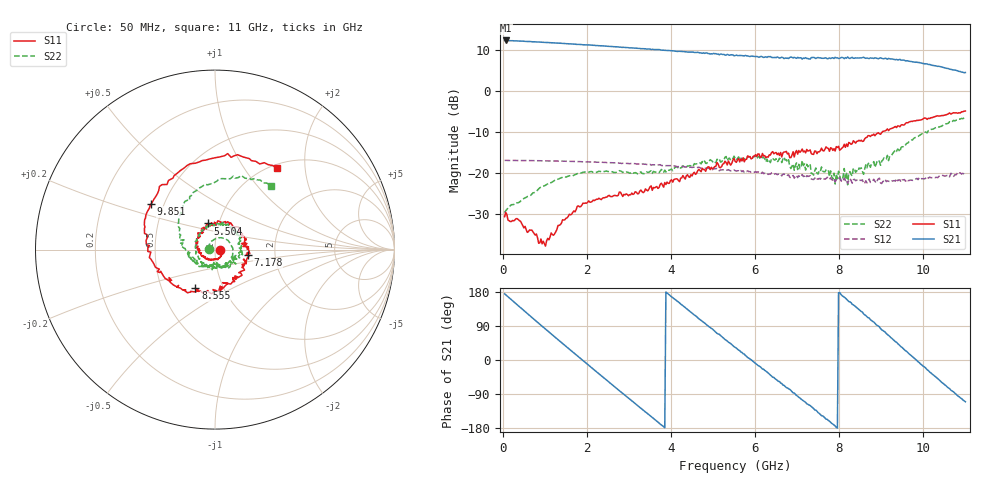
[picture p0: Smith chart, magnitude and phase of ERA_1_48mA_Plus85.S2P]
! Mini-Circuits
! S2P DATA File Format
! Type: MMIC Amplifier
! Model: ERA-1  Reference Data:RDF-960
! Note: All S Parameters are in dB deg format
! TEST CONDITIONS: INPUT POWER = -15dBm, Icc = 48mA, Vd = 3.38V @Temperature = +85degC
# MHz S DB R 50
!  FREQ  dB(S11)  PHS(S11)  dB(S21)  PHS(S21)  dB(S12)  PHS(S12)  dB(S22)  PHS(S22)
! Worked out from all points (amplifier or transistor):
!   401 points, 50 MHz to 11 GHz, reference 50 ohm
!   highest |S21| = 12.4 dB at 77 MHz (marker M1)
!   |S21| within 3 dB of that: start of sweep to 4.68 GHz
!   unconditionally stable (mu >= 1): start of sweep to end of sweep
!   at 1.832 GHz: K = 1.23, MAG = 11.4 dB, |S12| = -17.2 dB
!   at 5.45 GHz: K = 1.79, MAG = 9.0 dB, |S12| = -19.4 dB
!   at 11 GHz: K = 1.65, MAG = 7.6 dB, |S12| = -20.2 dB
!   S11 on the Smith chart (normalised r, x): 50 MHz: 1.06, -0.00; 5.504 GHz: 0.89, +0.26; 7.178 GHz: 1.44, -0.09; 8.555 GHz: 0.74, -0.34; 9.851 GHz: 0.42, +0.27; 11 GHz: 1.07, +1.43
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50  -30.71 -2.0  12.32 174.6  -16.95 -4.3  -29.72 171.1
77  -29.65 1.3  12.36 172.1  -16.94 -5.9  -29.23 166.7
536  -33.08 -26.4  12.16 127.9  -16.99 -39.3  -26.11 116.5
941  -37.34 -18.5  11.92 89.2  -17.05 -68.9  -23.31 76.6
1454  -31.54 2.2  11.61 41.2  -17.15 -106.3  -21.00 34.0
1886  -27.91 -18.6  11.33 1.1  -17.27 -138.0  -19.97 -2.5
2777  -24.69 -74.3  10.71 -80.9  -17.65 156.5  -19.45 -77.3
3182  -24.73 -103.3  10.43 -117.6  -17.83 126.9  -20.05 -114.0
3722  -23.57 -133.2  10.13 -166.4  -18.04 87.6  -19.97 -161.3
4154  -21.49 -165.6  9.66 155.3  -18.49 55.9  -18.53 157.0
4667  -19.15 169.4  9.39 108.9  -18.61 18.4  -17.58 122.0
5504  -16.46 104.7  8.62 35.1  -19.29 -43.5  -15.92 62.8
5531  -17.20 102.8  8.69 33.5  -19.47 -44.9  -16.48 59.1
6287  -16.07 46.0  8.21 -31.5  -20.23 -100.6  -16.63 10.7
7178  -14.65 -9.6  7.96 -110.0  -20.81 -162.1  -17.79 -37.2
7367  -15.45 -18.1  8.18 -125.6  -21.59 -176.2  -20.14 -49.5
7961  -13.79 -61.2  8.12 -179.6  -21.77 144.4  -21.43 -85.2
8555  -12.32 -116.9  8.17 126.5  -21.69 100.0  -19.61 -136.2
9203  -9.33 -162.6  7.89 62.4  -22.12 60.1  -15.93 -175.9
9851  -7.15 144.5  7.06 -1.4  -21.36 19.8  -11.16 132.9
10436  -6.00 98.2  5.86 -58.6  -20.59 -23.7  -8.61 91.3
11003  -4.89 52.5  4.52 -110.2  -20.18 -62.8  -6.50 48.7
